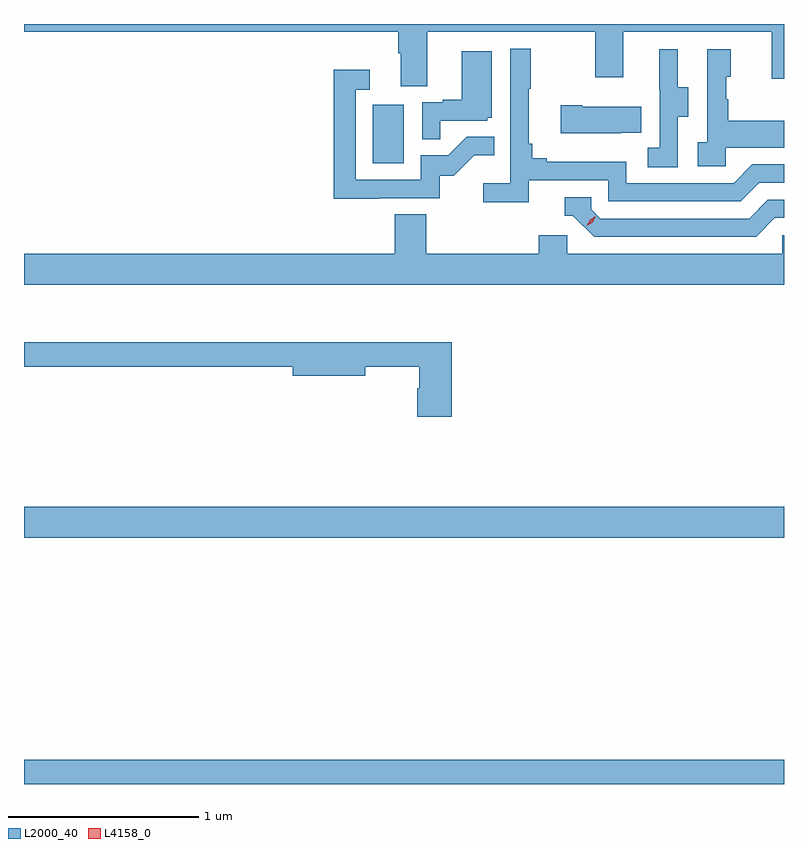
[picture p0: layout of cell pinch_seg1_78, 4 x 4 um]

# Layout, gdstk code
import gdstk
lib = gdstk.Library(unit=1e-6, precision=1e-09)
def R(c, l, rs):  # rectangles x0, y0, x1, y1
    for r in rs: c.add(gdstk.rectangle(r[:2], r[2:], *l))
def P(c, l, *ps):  # polygons
    for p in ps: c.add(gdstk.Polygon(p, *l))
L2000_40 = (2000, 40)
L4158_0 = (4158, 0)

pinch_seg1_78 = lib.new_cell('pinch_seg1_78')
R(pinch_seg1_78, L2000_40, [(1057.035,578.409,1061.035,578.536), (1057.035,579.704,1061.035,579.868), (1058.87,581.676,1059.034,581.983)])
P(pinch_seg1_78, L2000_40, [(1059.157,582.368),(1060.042,582.368),(1060.042,582.129),(1060.189,582.129),(1060.189,582.368),(1060.97,582.368),(1060.97,582.12),(1061.035,582.12),(1061.035,582.409),(1057.035,582.409),(1057.035,582.368),(1059.005,582.368),(1059.005,582.256),(1059.017,582.256),(1059.017,582.082),(1059.157,582.082)],
  [(1059.692,581.586),(1060.11,581.586),(1060.11,581.475),(1060.807,581.475),(1060.906,581.574),(1061.035,581.574),(1061.035,581.67),(1060.869,581.67),(1060.77,581.571),(1060.206,581.571),(1060.206,581.683),(1059.787,581.683),(1059.787,581.702),(1059.71,581.702),(1059.71,581.779),(1059.691,581.779),(1059.691,582.067),(1059.703,582.067),(1059.703,582.28),(1059.594,582.28),(1059.594,581.572),(1059.453,581.572),(1059.453,581.47),(1059.692,581.47)],
  [(1060.728,581.759),(1061.035,581.759),(1061.035,581.899),(1060.741,581.899),(1060.741,582.014),(1060.731,582.014),(1060.731,582.132),(1060.756,582.132),(1060.756,582.277),(1060.632,582.277),(1060.632,581.786),(1060.581,581.786),(1060.581,581.661),(1060.728,581.661)],
  [(1060.476,581.92),(1060.531,581.92),(1060.531,582.075),(1060.477,582.075),(1060.477,582.277),(1060.379,582.277),(1060.379,582.063),(1060.38,582.063),(1060.38,581.759),(1060.317,581.759),(1060.317,581.656),(1060.476,581.656)],
  [(1059.227,581.901),(1059.474,581.901),(1059.474,581.916),(1059.496,581.916),(1059.496,582.265),(1059.338,582.265),(1059.338,582.01),(1059.239,582.01),(1059.239,581.997),(1059.132,581.997),(1059.132,581.803),(1059.227,581.803)],
  [(1058.903,581.493),(1059.222,581.493),(1059.222,581.61),(1059.298,581.61),(1059.405,581.717),(1059.509,581.717),(1059.509,581.816),(1059.365,581.816),(1059.267,581.718),(1059.123,581.718),(1059.123,581.589),(1058.781,581.589),(1058.781,582.063),(1058.854,582.063),(1058.854,582.169),(1058.665,582.169),(1058.665,581.488),(1058.903,581.488)],
  [(1060.175,581.837),(1060.283,581.837),(1060.283,581.974),(1059.973,581.974),(1059.973,581.982),(1059.861,581.982),(1059.861,581.834),(1060.175,581.834)],
  [(1060.987,581.388),(1061.035,581.388),(1061.035,581.484),(1060.95,581.484),(1060.851,581.385),(1060.068,581.385),(1060.02,581.433),(1060.02,581.496),(1059.881,581.496),(1059.881,581.4),(1059.924,581.4),(1060.035,581.289),(1060.888,581.289)],
  [(1061.035,581.298),(1061.025,581.298),(1061.025,581.2),(1059.894,581.2),(1059.894,581.298),(1059.743,581.298),(1059.743,581.2),(1059.152,581.2),(1059.152,581.408),(1058.987,581.408),(1058.987,581.2),(1057.035,581.2),(1057.035,581.036),(1061.035,581.036)],
  [(1059.287,580.735),(1057.035,580.735),(1057.035,580.606),(1058.45,580.606),(1058.45,580.559),(1058.83,580.559),(1058.83,580.606),(1059.116,580.606),(1059.116,580.491),(1059.104,580.491),(1059.104,580.341),(1059.287,580.341)])
P(pinch_seg1_78, L4158_0, [(1059.998,581.346),(1059.998,581.346),(1060.014,581.379),(1060.045,581.398),(1060.045,581.398),(1060.045,581.398),(1060.029,581.365),(1059.998,581.346)])

lib.write_gds('pinch_seg1_78.gds')
